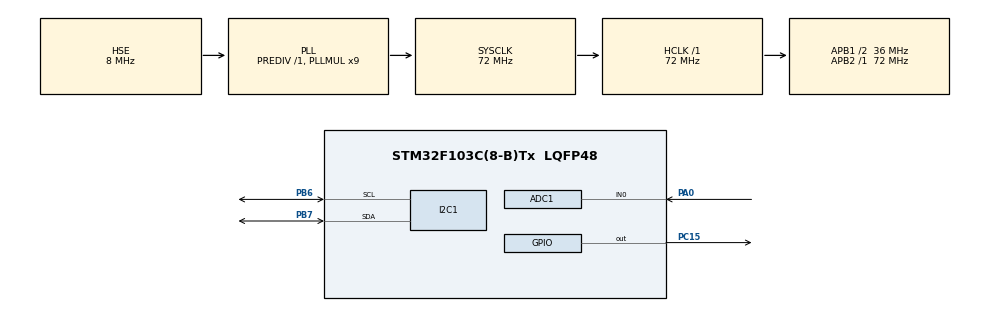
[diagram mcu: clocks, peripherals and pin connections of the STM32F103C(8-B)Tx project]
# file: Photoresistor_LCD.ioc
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ADC1.Channel-0\#ChannelRegularConversion=ADC_CHANNEL_0
ADC1.NbrOfConversionFlag=1
ADC1.Rank-0\#ChannelRegularConversion=1
ADC1.SamplingTime-0\#ChannelRegularConversion=ADC_SAMPLETIME_239CYCLES_5
ADC1.master=1
Mcu.Family=STM32F1
Mcu.Name=STM32F103C(8-B)Tx
Mcu.Package=LQFP48
NVIC.PriorityGroup=NVIC_PRIORITYGROUP_4
PA0-WKUP.Signal=ADCx_IN0
PA13.Mode=Serial_Wire
PA13.Signal=SYS_JTMS-SWDIO
PA14.Mode=Serial_Wire
PA14.Signal=SYS_JTCK-SWCLK
PB6.Mode=I2C
PB6.Signal=I2C1_SCL
PB7.Mode=I2C
PB7.Signal=I2C1_SDA
PC15-OSC32_OUT.Signal=GPIO_Output
PD0-OSC_IN.Mode=HSE-External-Oscillator
PD0-OSC_IN.Signal=RCC_OSC_IN
PD1-OSC_OUT.Mode=HSE-External-Oscillator
PD1-OSC_OUT.Signal=RCC_OSC_OUT
ProjectManager.HeapSize=0x200
ProjectManager.StackSize=0x400
ProjectManager.TargetToolchain=CMake
RCC.ADCPresc=RCC_ADCPCLK2_DIV6
RCC.AHBFreq_Value=72000000
RCC.APB1CLKDivider=RCC_HCLK_DIV2
RCC.APB1Freq_Value=36000000
RCC.APB1TimFreq_Value=72000000
RCC.APB2Freq_Value=72000000
RCC.APB2TimFreq_Value=72000000
RCC.HCLKFreq_Value=72000000
RCC.PLLMUL=RCC_PLL_MUL9
RCC.PLLSourceVirtual=RCC_PLLSOURCE_HSE
RCC.SYSCLKFreq_VALUE=72000000
RCC.SYSCLKSource=RCC_SYSCLKSOURCE_PLLCLK
RCC.USBFreq_Value=72000000
SH.ADCx_IN0.0=ADC1_IN0,IN0
board=custom

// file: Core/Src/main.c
/* USER CODE BEGIN Header */
/**
 ******************************************************************************
 * @file           : main.c
 * @brief          : Main program body
 ******************************************************************************
 * @attention
 *
 * Copyright (c) 2025 STMicroelectronics.
 * All rights reserved.
 *
 * This software is licensed under terms that can be found in the LICENSE file
 * in the root directory of this software component.
 * If no LICENSE file comes with this software, it is provided AS-IS.
 *
 ******************************************************************************
 */
/* USER CODE END Header */
#include "main.h"

/* USER CODE BEGIN Includes */
#include "LCD_I2C.h"
#include "stm32f1xx_hal.h"
#include "string.h"
#include "stdio.h"
/* USER CODE END Includes */

ADC_HandleTypeDef hadc1;

I2C_HandleTypeDef hi2c1;

/* USER CODE BEGIN PV */
LCD_HandleTypeDef hlcd;
/* USER CODE END PV */

void SystemClock_Config(void);
static void MX_GPIO_Init(void);
static void MX_ADC1_Init(void);
static void MX_I2C1_Init(void);

/* USER CODE BEGIN 0 */
uint32_t adc_value;

uint32_t ADC_GetValue()
{
  uint32_t value;

  HAL_ADC_Start(&hadc1);
  HAL_ADC_PollForConversion(&hadc1, 1000);
  value = HAL_ADC_GetValue(&hadc1);
  HAL_ADC_Stop(&hadc1);

  return value;
}

uint32_t ADC_ReadAverage(uint8_t samples)
{
  uint32_t sum = 0;
  uint32_t time = 0;

  for (uint8_t i = 0; i < samples; i++)
  {
    if (HAL_GetTick() - time >= 100)
    {
      sum += ADC_GetValue();
      time = HAL_GetTick();
    }
  }

  return sum / samples;
}

/* USER CODE END 0 */

int main(void)
{

  /* MCU Configuration--------------------------------------------------------*/

  /* Reset of all peripherals, Initializes the Flash interface and the Systick. */
  HAL_Init();

  /* Configure the system clock */
  SystemClock_Config();

  /* Initialize all configured peripherals */
  MX_GPIO_Init();
  MX_ADC1_Init();
  MX_I2C1_Init();
  /* USER CODE BEGIN 2 */
  /* LCD Init */
  LCD_Init(&hlcd, &hi2c1, 0x27);
  LCD_Display(&hlcd);
  LCD_Backlight(&hlcd);
  LCD_Clear_Display(&hlcd);

  LCD_SetCursor(&hlcd, 0, 0);
  LCD_Print(&hlcd, "Photoresistor Project");

  char addrMsg[16];
  sprintf(addrMsg, "LCD Addr: 0x%02X", 0x27);
  LCD_SetCursor(&hlcd, 0, 1);
  LCD_Print(&hlcd, addrMsg);
  HAL_Delay(2000);
  LCD_Clear_Display(&hlcd);

  uint32_t last_time = 0;
  /* USER CODE END 2 */

  /* Infinite loop */
  while (1)
  {

    /* USER CODE BEGIN 3 */
    LCD_SetCursor(&hlcd, 0, 0);
    if (HAL_GetTick() - last_time >= 1000)
    {
      adc_value = ADC_ReadAverage(5);
      last_time = HAL_GetTick();

      if (adc_value <= 500)
      {
        HAL_GPIO_WritePin(GPIOC, GPIO_PIN_15, GPIO_PIN_SET);
        LCD_Clear_Display(&hlcd);
        LCD_ScrollText(&hlcd, 0, "LED is being turned ON!", 500);
      }
      else
      {
        HAL_GPIO_WritePin(GPIOC, GPIO_PIN_15, GPIO_PIN_RESET);
        LCD_Clear_Display(&hlcd);
        LCD_ScrollText(&hlcd, 0, "LED is being turned OFF!", 500);
      }
    }
  }
  /* USER CODE END 3 */
}

void SystemClock_Config(void)
{
  RCC_OscInitTypeDef RCC_OscInitStruct = {0};
  RCC_ClkInitTypeDef RCC_ClkInitStruct = {0};
  RCC_PeriphCLKInitTypeDef PeriphClkInit = {0};

  /** Initializes the RCC Oscillators according to the specified parameters
   * in the RCC_OscInitTypeDef structure.
   */
  RCC_OscInitStruct.OscillatorType = RCC_OSCILLATORTYPE_HSE;
  RCC_OscInitStruct.HSEState = RCC_HSE_ON;
  RCC_OscInitStruct.HSEPredivValue = RCC_HSE_PREDIV_DIV1;
  RCC_OscInitStruct.HSIState = RCC_HSI_ON;
  RCC_OscInitStruct.PLL.PLLState = RCC_PLL_ON;
  RCC_OscInitStruct.PLL.PLLSource = RCC_PLLSOURCE_HSE;
  RCC_OscInitStruct.PLL.PLLMUL = RCC_PLL_MUL9;
  if (HAL_RCC_OscConfig(&RCC_OscInitStruct) != HAL_OK)
  {
    Error_Handler();
  }

  /** Initializes the CPU, AHB and APB buses clocks
   */
  RCC_ClkInitStruct.ClockType = RCC_CLOCKTYPE_HCLK | RCC_CLOCKTYPE_SYSCLK | RCC_CLOCKTYPE_PCLK1 | RCC_CLOCKTYPE_PCLK2;
  RCC_ClkInitStruct.SYSCLKSource = RCC_SYSCLKSOURCE_PLLCLK;
  RCC_ClkInitStruct.AHBCLKDivider = RCC_SYSCLK_DIV1;
  RCC_ClkInitStruct.APB1CLKDivider = RCC_HCLK_DIV2;
  RCC_ClkInitStruct.APB2CLKDivider = RCC_HCLK_DIV1;

  if (HAL_RCC_ClockConfig(&RCC_ClkInitStruct, FLASH_LATENCY_2) != HAL_OK)
  {
    Error_Handler();
  }
  PeriphClkInit.PeriphClockSelection = RCC_PERIPHCLK_ADC;
  PeriphClkInit.AdcClockSelection = RCC_ADCPCLK2_DIV6;
  if (HAL_RCCEx_PeriphCLKConfig(&PeriphClkInit) != HAL_OK)
  {
    Error_Handler();
  }
}

static void MX_ADC1_Init(void)
{

  ADC_ChannelConfTypeDef sConfig = {0};

  /** Common config
   */
  hadc1.Instance = ADC1;
  hadc1.Init.ScanConvMode = ADC_SCAN_DISABLE;
  hadc1.Init.ContinuousConvMode = DISABLE;
  hadc1.Init.DiscontinuousConvMode = DISABLE;
  hadc1.Init.ExternalTrigConv = ADC_SOFTWARE_START;
  hadc1.Init.DataAlign = ADC_DATAALIGN_RIGHT;
  hadc1.Init.NbrOfConversion = 1;
  if (HAL_ADC_Init(&hadc1) != HAL_OK)
  {
    Error_Handler();
  }

  /** Configure Regular Channel
   */
  sConfig.Channel = ADC_CHANNEL_0;
  sConfig.Rank = ADC_REGULAR_RANK_1;
  sConfig.SamplingTime = ADC_SAMPLETIME_239CYCLES_5;
  if (HAL_ADC_ConfigChannel(&hadc1, &sConfig) != HAL_OK)
  {
    Error_Handler();
  }
}

static void MX_I2C1_Init(void)
{

  hi2c1.Instance = I2C1;
  hi2c1.Init.ClockSpeed = 100000;
  hi2c1.Init.DutyCycle = I2C_DUTYCYCLE_2;
  hi2c1.Init.OwnAddress1 = 0;
  hi2c1.Init.AddressingMode = I2C_ADDRESSINGMODE_7BIT;
  hi2c1.Init.DualAddressMode = I2C_DUALADDRESS_DISABLE;
  hi2c1.Init.OwnAddress2 = 0;
  hi2c1.Init.GeneralCallMode = I2C_GENERALCALL_DISABLE;
  hi2c1.Init.NoStretchMode = I2C_NOSTRETCH_DISABLE;
  if (HAL_I2C_Init(&hi2c1) != HAL_OK)
  {
    Error_Handler();
  }
}

static void MX_GPIO_Init(void)
{
  GPIO_InitTypeDef GPIO_InitStruct = {0};

  /* GPIO Ports Clock Enable */
  __HAL_RCC_GPIOC_CLK_ENABLE();
  __HAL_RCC_GPIOD_CLK_ENABLE();
  __HAL_RCC_GPIOA_CLK_ENABLE();
  __HAL_RCC_GPIOB_CLK_ENABLE();

  /*Configure GPIO pin Output Level */
  HAL_GPIO_WritePin(GPIOC, GPIO_PIN_15, GPIO_PIN_RESET);

  /*Configure GPIO pin : PC15 */
  GPIO_InitStruct.Pin = GPIO_PIN_15;
  GPIO_InitStruct.Mode = GPIO_MODE_OUTPUT_PP;
  GPIO_InitStruct.Pull = GPIO_NOPULL;
  GPIO_InitStruct.Speed = GPIO_SPEED_FREQ_LOW;
  HAL_GPIO_Init(GPIOC, &GPIO_InitStruct);

}

void Error_Handler(void)
{
  __disable_irq();
  while (1)
  {
  }
}
